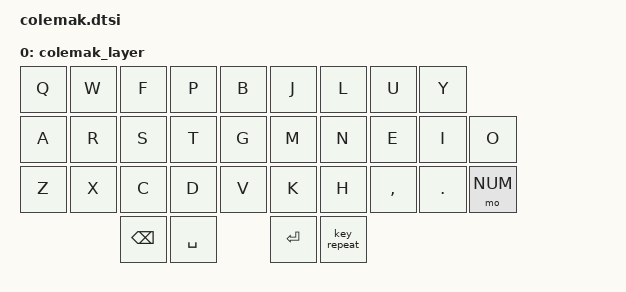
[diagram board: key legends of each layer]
/*
 * Copyright (c) 2020 The ZMK Contributors
 *
 * SPDX-License-Identifier: MIT
 */

&caps_word {
   continue-list = <UNDERSCORE MINUS BACKSPACE>;
};

/*           34 Keys
╭──────────────╮ ╭──────────────╮
│ 0  1  2  3  4│ │ 5  6  7  8  9│
│10 11 12 13 14│ │15 16 17 18 19│
│20 21 22 23 24│ │25 26 27 28 29│
╰────────╮30 31│ │32 33╭────────╯
         ╰─────╯ ╰─────╯         */
// LEFT SIDE
// TOP 
#define P_Q LTP
#define P_W LTR
#define P_F LTM
#define P_P LTII
#define P_B LTIO
// MIDDLE
#define P_A LMP
#define P_R LMR
#define P_S LMM
#define P_T LMII
#define P_G LMIO
// BOTTOM
#define P_Z LBP
#define P_X LBR
#define P_C LBM
#define P_D LBII
#define P_V LBIO
// THUMB
#define P_BACKSPACE LTI
#define P_SPACE LTO

// RIGHT SIDE
// TOP 
#define P_GRAVE RTIO
#define P_J RTIO
#define P_L RTII
#define P_U RTM
#define P_Y RTR
#define P_NONE RTP
// MIDDLE
#define P_M RMIO
#define P_N RMII
#define P_E RMM
#define P_I RMR
#define P_O RMP
// BOTTOM
#define P_K RBIO
#define P_H RBII
#define P_COMMA RBM
#define P_DOT RBR
#define P_NUM RBP
// THUMB
#define P_RETURN RTO
#define P_REP RTI
/ {
   keymap {
      compatible = "zmk,keymap";
              colemak_layer {
/*           34 Keys
╭───────────────╮ ╭─────────────────╮
│ Q  W  F  P  B │ │ J  L  U  Y      │
│ A  R  S  T  G │ │ M  N  E  I  O   │
│ Z  X  C  D  V │ │ K  H  ,  . -NUM-│
╰─────╮BSPC- SPC│ │RET -REP-╭───────╯
      ╰─────────╯ ╰─────────╯         */
                        bindings = <
//╭──────┬──────┬──────┬──────┬───────╮╭─────┬──────┬───────────┬───────┬───────╮
   &kp Q  &kp W  &kp F  &kp P  &kp B    &kp J  &kp L  &kp U      &kp Y      
//├──────┼──────┼──────┼──────┼───────┤├─────┼──────┼───────────┼───────┼───────┤
   &kp A  &kp R  &kp S  &kp T  &kp G    &kp M  &kp N  &kp E      &kp I   &kp O
//├──────┼──────┼──────┼──────┼───────┤├─────┼──────┼───────────┼───────┼───────┤
   &kp Z  &kp X  &kp C  &kp D  &kp V    &kp K  &kp H  &kp COMMA  &kp DOT &mo NUM
//╰──────┴──────┴──╮                  ││                     ╭──┴───────┴───────╯
                    &kp BSPC &kp SPACE   &kp RET  &key_repeat 
//                 ╰────────┴─────────╯ ╰────────┴───────────╯
         >;
      };
   };
};

